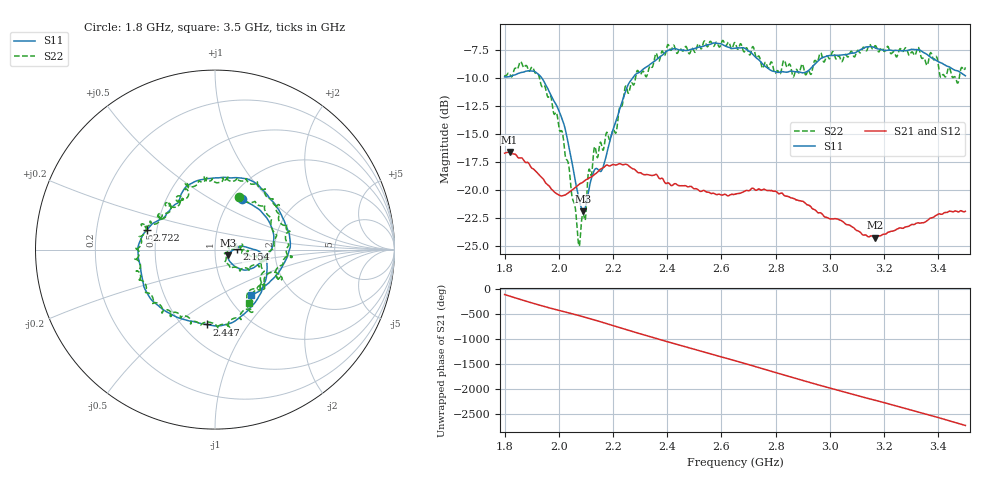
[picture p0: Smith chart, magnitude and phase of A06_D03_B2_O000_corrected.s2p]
! Created with skrf 1.9.0 (http://scikit-rf.org).
# Hz S RI R 50.0
!freq ReS11 ImS11 ReS21 ImS21 ReS12 ImS12 ReS22 ImS22
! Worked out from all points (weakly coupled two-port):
!   1601 points, 1.8 GHz to 3.5 GHz, reference 50 ohm
!   highest |S21| = -16.63 dB at 1.818 GHz (marker M1); lowest = -24.3 dB at 3.165 GHz (marker M2)
!   lowest |S11| = -21.9 dB at 2.09 GHz (marker M3), VSWR 1.17, Z = 58 - j3.41 ohm
!   |S11| at or under -10 dB: 1.936 GHz to 2.273 GHz (337.2 MHz wide, 16 % of centre)
!   |S22| runs from -25.0 to -6.7 dB; largest |S21 - S12| = 0.0026
!   S11 on the Smith chart (normalised r, x): 1.8 GHz: 1.12, +0.70; 2.154 GHz: 1.27, +0.01; 2.447 GHz: 0.65, -0.66; 2.722 GHz: 0.44, +0.12; 3.5 GHz: 1.27, -0.72
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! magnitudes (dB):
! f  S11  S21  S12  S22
! 1.8 GHz  -9.9  -16.7  -16.7  -9.8
! 1.818 GHz  -9.9  -16.6  -16.6  -9.6
! 1.903 GHz  -9.4  -18.1  -18.1  -9.1
! 1.968 GHz  -11.4  -19.8  -19.8  -11.5
! 2.015 GHz  -13.8  -20.5  -20.5  -15.1
! 2.072 GHz  -20.5  -19.6  -19.6  -24.7
! 2.084 GHz  -21.6  -19.4  -19.3  -22.8
! 2.09 GHz  -21.9  -19.3  -19.3  -22.1
! 2.13 GHz  -18.3  -18.7  -18.6  -16.3
! 2.154 GHz  -18.4  -18.1  -18.2  -15.8
! 2.209 GHz  -14.0  -17.8  -17.7  -15.0
! 2.257 GHz  -10.6  -17.8  -17.8  -11.4
! 2.367 GHz  -8.3  -18.9  -18.8  -8.5
! 2.447 GHz  -7.5  -19.6  -19.6  -7.4
! 2.65 GHz  -7.4  -20.4  -20.4  -6.9
! 2.722 GHz  -8.1  -20.0  -19.9  -7.7
! 2.802 GHz  -9.5  -20.2  -20.2  -9.5
! 2.934 GHz  -9.1  -21.6  -21.6  -9.5
! 3.165 GHz  -7.3  -24.3  -24.2  -7.2
! 3.217 GHz  -7.5  -23.8  -23.7  -7.4
! 3.468 GHz  -9.4  -21.9  -21.9  -10.4
! 3.5 GHz  -9.8  -21.9  -21.9  -9.1
